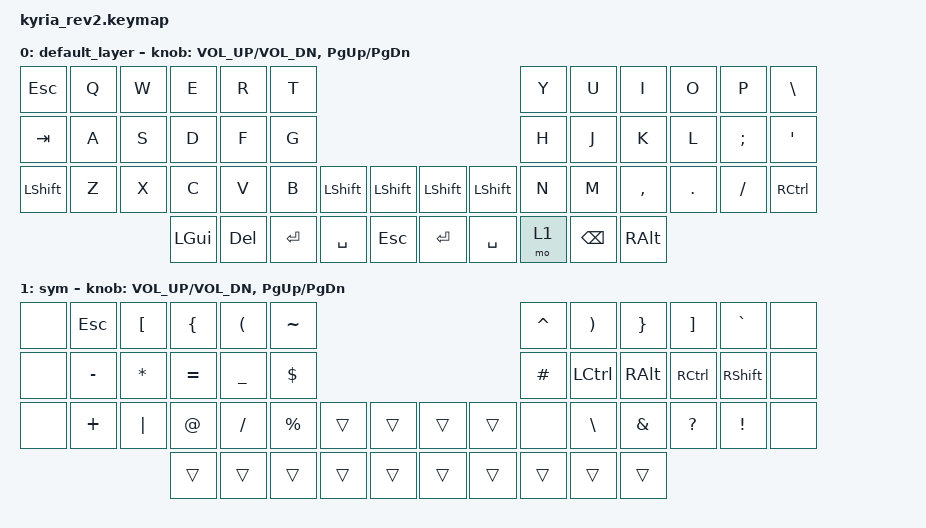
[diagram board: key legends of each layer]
/*
 * Copyright (c) 2020 The ZMK Contributors
 *
 * SPDX-License-Identifier: MIT
 */

#include <behaviors.dtsi>
#include <dt-bindings/zmk/keys.h>

/ {
    keymap {
        compatible = "zmk,keymap";

        default_layer {
            // ---------------------------------------------------------------------------------------------------------------------------------
            // |  ESC  |  Q  |  W  |  E   |  R   |  T   |                                          |  Y   |  U    |  I    |  O   |   P   |   \  |
            // |  TAB  |  A  |  S  |  D   |  F   |  G   |                                          |  H   |  J    |  K    |  L   |   ;   |   '  |
            // | SHIFT |  Z  |  X  |  C   |  V   |  B   | L SHIFT | L SHIFT |  | L SHIFT | L SHIFT |  N   |  M    |  ,    |  .   |   /   | CTRL |
            //                     | GUI  | DEL  | RET  |  SPACE  |   ESC   |  |   RET   |  SPACE  | TAB  | BSPC  | R-ALT |

            bindings = <
&kp ESC    &kp Q  &kp W  &kp E     &kp R    &kp T                                                &kp Y  &kp U     &kp I      &kp O    &kp P     &kp BSLH
&kp TAB    &kp A  &kp S  &kp D     &kp F    &kp G                                                &kp H  &kp J     &kp K      &kp L    &kp SEMI  &kp SQT
&kp LSHFT  &kp Z  &kp X  &kp C     &kp V    &kp B    &kp LSHFT  &kp LSHFT  &kp LSHFT  &kp LSHFT  &kp N  &kp M     &kp COMMA  &kp DOT  &kp FSLH  &kp RCTRL
                         &kp LGUI  &kp DEL  &kp RET  &kp SPACE  &kp ESC    &kp RET    &kp SPACE  &mo 1  &kp BSPC  &kp RALT
            >;

            sensor-bindings = <&inc_dec_kp C_VOL_UP C_VOL_DN &inc_dec_kp PG_UP PG_DN>;
        };

        sym {
            bindings = <
&none  &kp ESC    &kp LBKT      &kp LBRC   &kp LPAR   &kp TILDE                                    &kp CARET  &kp RPAR   &kp RBRC       &kp RBKT      &kp GRAVE  &none
&none  &kp MINUS  &kp ASTERISK  &kp EQUAL  &kp UNDER  &kp DOLLAR                                   &kp HASH   &kp LCTRL  &kp RALT       &kp RCTRL     &kp RSHFT  &none
&none  &kp PLUS   &kp PIPE      &kp AT     &kp FSLH   &kp PERCENT  &trans  &trans  &trans  &trans  &none      &kp BSLH   &kp AMPERSAND  &kp QUESTION  &kp EXCL   &none
                                &trans     &trans     &trans       &trans  &trans  &trans  &trans  &trans     &trans     &trans
            >;

            sensor-bindings =
                <&inc_dec_kp C_VOL_UP C_VOL_DN>,
                <&inc_dec_kp PG_UP PG_DN>;
        };
    };
};
